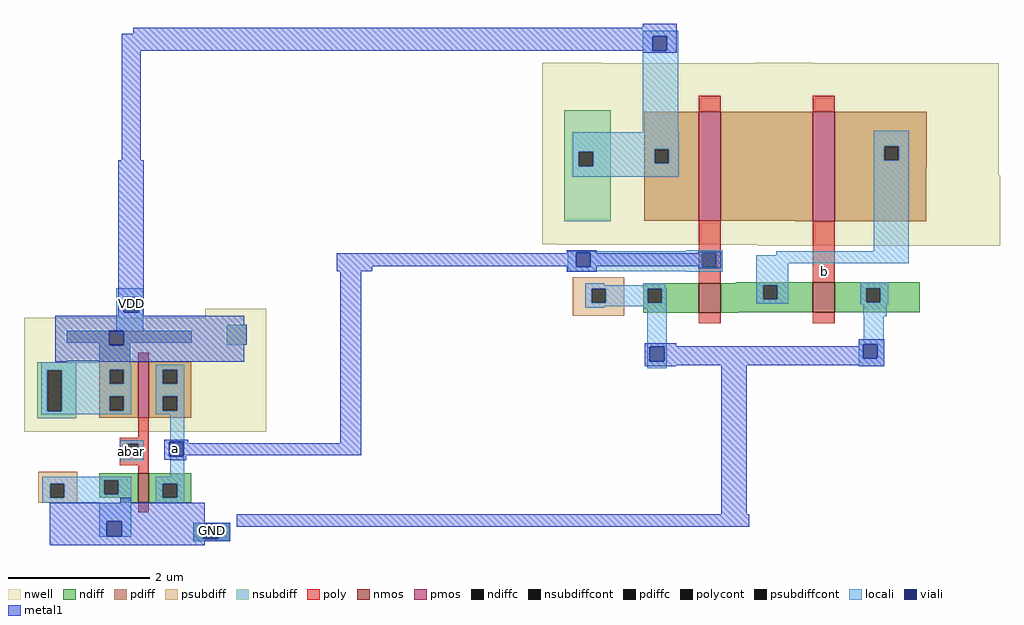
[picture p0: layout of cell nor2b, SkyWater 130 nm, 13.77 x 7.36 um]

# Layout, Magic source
magic
tech sky130A
<< nwell >>
rect 1638 1016 1722 1017
rect 1938 1016 2022 1017
rect 1638 858 2282 1016
rect 1638 761 2284 858
rect 1661 760 2284 761
rect 1942 759 2284 760
<< nmos >>
rect 1859 664 1890 706
rect 2020 665 2051 707
<< pmos >>
rect 1859 794 1890 948
rect 2020 793 2051 948
<< ndiff >>
rect 1911 706 2020 707
rect 1781 698 1859 706
rect 1781 678 1787 698
rect 1807 678 1859 698
rect 1781 664 1859 678
rect 1890 703 2020 706
rect 1890 683 1950 703
rect 1970 683 2020 703
rect 1890 665 2020 683
rect 2051 699 2171 707
rect 2051 679 2095 699
rect 2115 679 2171 699
rect 2051 665 2171 679
rect 1890 664 1915 665
rect 1146 342 1198 368
<< pdiff >>
rect 1782 895 1859 948
rect 1782 875 1797 895
rect 1817 875 1859 895
rect 1782 794 1859 875
rect 1890 794 2020 948
rect 1995 793 2020 794
rect 2051 899 2181 948
rect 2051 879 2121 899
rect 2141 879 2181 899
rect 2051 870 2181 879
rect 2051 793 2180 870
<< ndiffc >>
rect 1787 678 1807 698
rect 1950 683 1970 703
rect 2095 679 2115 699
<< pdiffc >>
rect 1797 875 1817 895
rect 2121 879 2141 899
<< psubdiff >>
rect 1681 698 1754 714
rect 1681 678 1708 698
rect 1728 678 1754 698
rect 1681 660 1754 678
<< nsubdiff >>
rect 1669 891 1735 950
rect 1669 871 1690 891
rect 1710 871 1735 891
rect 1669 793 1735 871
<< psubdiffcont >>
rect 1708 678 1728 698
<< nsubdiffcont >>
rect 1690 871 1710 891
<< poly >>
rect 1859 948 1890 970
rect 2020 948 2051 970
rect 1859 748 1890 794
rect 1859 728 1864 748
rect 1884 728 1890 748
rect 1859 706 1890 728
rect 2020 707 2051 793
rect 1859 649 1890 664
rect 2020 649 2051 665
<< polycont >>
rect 1864 728 1884 748
<< locali >>
rect 1780 1054 1830 1062
rect 1780 1034 1794 1054
rect 1814 1034 1830 1054
rect 1780 919 1830 1034
rect 1681 895 1831 919
rect 1681 891 1797 895
rect 1681 871 1690 891
rect 1710 875 1797 891
rect 1817 875 1831 895
rect 1710 871 1831 875
rect 1681 856 1831 871
rect 2106 899 2155 921
rect 2106 879 2121 899
rect 2141 879 2155 899
rect 1841 751 1893 752
rect 2106 751 2155 879
rect 1674 749 1893 751
rect 1674 729 1686 749
rect 1706 748 1893 749
rect 1706 729 1864 748
rect 1674 728 1864 729
rect 1884 728 1893 748
rect 1968 745 2155 751
rect 1674 723 1893 728
rect 1841 722 1893 723
rect 1940 734 2155 745
rect 1699 703 1726 706
rect 1781 703 1812 706
rect 1037 686 1075 699
rect 1037 665 1048 686
rect 1069 665 1075 686
rect 1699 698 1812 703
rect 1940 703 1985 734
rect 1699 678 1708 698
rect 1728 678 1787 698
rect 1807 678 1814 698
rect 1699 673 1814 678
rect 1940 683 1950 703
rect 1970 683 1985 703
rect 1940 677 1985 683
rect 2087 699 2126 707
rect 2087 679 2095 699
rect 2115 679 2126 699
rect 2087 676 2126 679
rect 1699 671 1726 673
rect 1781 670 1814 673
rect 1037 633 1075 665
rect 1786 616 1814 670
rect 2091 662 2124 676
rect 2092 659 2124 662
rect 2092 627 2120 659
rect 1786 596 1790 616
rect 1810 596 1814 616
rect 1786 586 1814 596
rect 2085 620 2121 627
rect 2085 600 2091 620
rect 2111 600 2121 620
rect 2085 589 2121 600
rect 1146 366 1198 368
rect 1146 345 1160 366
rect 1181 345 1198 366
rect 1146 342 1198 345
<< viali >>
rect 1794 1034 1814 1054
rect 1686 729 1706 749
rect 1048 665 1069 686
rect 1790 596 1810 616
rect 2091 600 2111 620
rect 1112 462 1132 482
rect 1160 345 1181 366
<< metal1 >>
rect 1780 1066 1828 1072
rect 1061 1058 1828 1066
rect 1045 1054 1828 1058
rect 1045 1034 1794 1054
rect 1814 1034 1828 1054
rect 1045 879 1072 1034
rect 1780 1031 1828 1034
rect 1040 686 1076 879
rect 1673 749 1715 752
rect 1673 748 1686 749
rect 1348 730 1686 748
rect 1348 723 1398 730
rect 1673 729 1686 730
rect 1706 748 1715 749
rect 1858 748 1891 750
rect 1706 730 1891 748
rect 1706 729 1715 730
rect 1040 665 1048 686
rect 1069 665 1076 686
rect 1040 657 1076 665
rect 1105 482 1139 485
rect 1105 462 1112 482
rect 1132 480 1139 482
rect 1353 480 1383 723
rect 1673 722 1715 729
rect 1858 727 1891 730
rect 1783 617 1827 621
rect 2085 620 2121 627
rect 2085 617 2091 620
rect 1783 616 2091 617
rect 1783 596 1790 616
rect 1810 600 2091 616
rect 2111 600 2121 620
rect 1810 596 2121 600
rect 1783 590 2121 596
rect 1783 589 1827 590
rect 1132 463 1383 480
rect 1132 462 1136 463
rect 1105 457 1136 462
rect 1113 456 1136 457
rect 1891 380 1927 590
rect 2085 589 2121 590
rect 1146 366 1198 368
rect 1146 345 1160 366
rect 1181 345 1198 366
rect 1207 362 1930 380
rect 1146 342 1198 345
use assignment2  assignment2_0
transform 1 0 1078 0 1 413
box -171 -77 171 257
<< labels >>
rlabel viali 1173 357 1173 357 1 GND
port 1 n
rlabel viali 1059 677 1059 677 1 VDD
port 2 n
rlabel viali 1121 473 1121 473 1 a
port 3 n
rlabel space 1058 468 1058 468 1 abar
port 4 n
rlabel poly 2036 723 2036 723 1 b
port 5 n
<< end >>

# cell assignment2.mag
magic
tech sky130A
<< nwell >>
rect 85 244 171 257
rect -171 83 171 244
<< nmos >>
rect -10 -17 5 25
<< pmos >>
rect -10 103 5 182
<< ndiff >>
rect -65 15 -10 25
rect -65 -5 -58 15
rect -38 -5 -10 15
rect -65 -10 -10 -5
rect -35 -17 -10 -10
rect 5 10 65 25
rect 5 -10 25 10
rect 45 -10 65 10
rect 5 -17 65 -10
<< pdiff >>
rect -111 209 66 226
rect -65 182 -21 209
rect -65 171 -10 182
rect -65 151 -50 171
rect -30 151 -10 171
rect -65 133 -10 151
rect -65 113 -50 133
rect -30 113 -10 133
rect -65 103 -10 113
rect 5 171 65 182
rect 5 151 25 171
rect 45 151 65 171
rect 5 133 65 151
rect 5 113 25 133
rect 45 113 65 133
rect 5 103 65 113
<< ndiffc >>
rect -58 -5 -38 15
rect 25 -10 45 10
<< pdiffc >>
rect -50 151 -30 171
rect -50 113 -30 133
rect 25 151 45 171
rect 25 113 45 133
<< psubdiff >>
rect -151 10 -96 27
rect -151 -10 -134 10
rect -114 -10 -96 10
rect -151 -17 -96 -10
<< nsubdiff >>
rect 115 206 143 234
rect -152 170 -97 181
rect -152 112 -138 170
rect -118 112 -97 170
rect -152 102 -97 112
<< psubdiffcont >>
rect -134 -10 -114 10
<< nsubdiffcont >>
rect -138 112 -118 170
<< poly >>
rect -10 182 5 195
rect -10 75 5 103
rect -36 66 5 75
rect -36 49 -27 66
rect -10 49 5 66
rect -36 36 5 49
rect -10 25 5 36
rect -10 -30 5 -17
<< polycont >>
rect -27 49 -10 66
<< locali >>
rect -111 209 -51 226
rect -65 205 -51 209
rect -30 209 66 226
rect -30 205 -21 209
rect -65 181 -21 205
rect -147 178 -21 181
rect -147 171 -20 178
rect -147 170 -50 171
rect -147 112 -138 170
rect -118 151 -50 170
rect -30 151 -20 171
rect -118 133 -20 151
rect -118 113 -50 133
rect -30 113 -20 133
rect -118 112 -20 113
rect -147 108 -20 112
rect 15 171 55 178
rect 15 151 25 171
rect 45 151 55 171
rect 15 133 55 151
rect 15 113 25 133
rect 45 113 55 133
rect 15 108 55 113
rect -36 66 -2 71
rect -36 49 -27 66
rect -10 49 -2 66
rect -36 43 -2 49
rect 35 20 55 108
rect -145 15 -20 20
rect -145 10 -58 15
rect -145 -10 -134 10
rect -114 -5 -58 10
rect -38 -5 -20 15
rect -114 -10 -20 -5
rect -145 -17 -20 -10
rect 15 10 55 20
rect 15 -10 25 10
rect 45 -10 55 10
rect 15 -17 55 -10
rect -65 -43 -20 -17
rect -65 -64 -54 -43
rect -33 -64 -20 -43
rect -65 -65 -20 -64
<< viali >>
rect -51 205 -30 226
rect -54 -64 -33 -43
<< metal1 >>
rect -127 234 140 247
rect -127 226 143 234
rect -127 205 -51 226
rect -30 206 143 226
rect -30 205 140 206
rect -127 183 140 205
rect -127 182 -110 183
rect -65 182 140 183
rect -35 -17 -20 -10
rect -135 -43 84 -17
rect -135 -64 -54 -43
rect -33 -64 84 -43
rect -135 -77 84 -64
<< end >>
